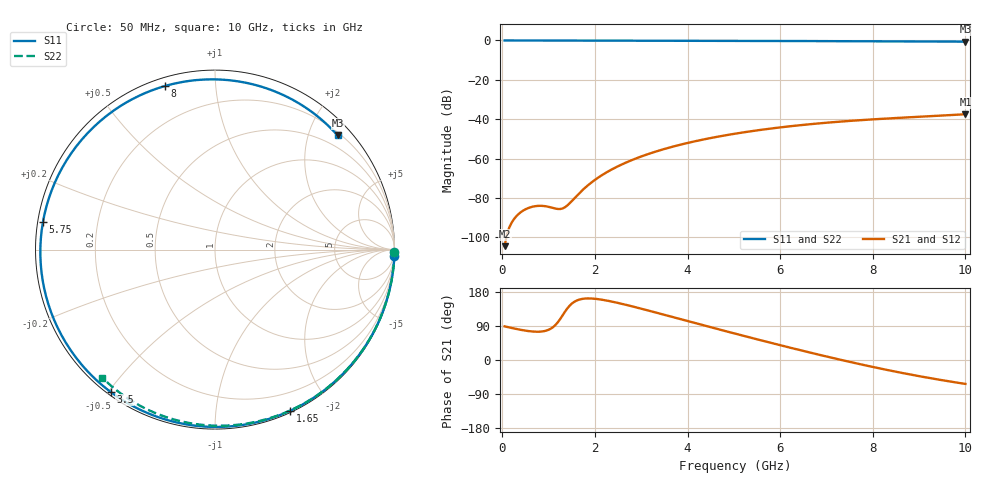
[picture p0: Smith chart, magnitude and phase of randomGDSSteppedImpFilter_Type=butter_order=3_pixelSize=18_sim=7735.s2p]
! freq	dB(S11)	phase(S11)	dB(S12)	phase(S12)
!  dB(S21)	phase(S21)	dB(S22)	phase(S22)
!S-par simulation data
#  GHz  S  DB  R 50
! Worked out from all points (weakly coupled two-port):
!   200 points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, 50 MHz to 10 GHz, reference 50 ohm
!   highest |S21| = -37.48 dB at 10 GHz (marker M1); lowest = -104.5 dB at 50 MHz (marker M2)
!   lowest |S11| = -0.6 dB at 10 GHz (marker M3), VSWR 29.00, Z = 12.8 + j126 ohm
!   |S11| at or under -10 dB: nowhere
!   |S22| runs from -0.4 to 0.0 dB; largest |S21 - S12| = 0
!   S11 on the Smith chart (normalised r, x): 50 MHz: 0, -55; 1.65 GHz: 0.02, -1.57; 3.5 GHz: 0.01, -0.51; 5.75 GHz: 0.01, +0.08; 8 GHz: 0.04, +0.74; 10 GHz: 0.26, +2.52
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0.05  -0.00 -2.1  -104.46 88.8  -104.46 88.8  -0.00 -0.8
0.4  -0.02 -16.4  -87.19 79.6  -87.19 79.6  -0.01 -6.0
0.75  -0.04 -30.5  -84.04 74.6  -84.04 74.6  -0.01 -11.3
1.15  -0.06 -46.2  -85.37 92.7  -85.37 92.7  -0.02 -17.3
1.55  -0.08 -61.4  -80.30 153.2  -80.30 153.2  -0.03 -23.2
1.65  -0.08 -65.1  -77.85 159.0  -77.85 159.0  -0.03 -24.7
1.75  -0.08 -68.7  -75.58 161.7  -75.58 161.7  -0.03 -26.2
2.05  -0.09 -79.5  -69.97 160.9  -69.97 160.9  -0.04 -30.6
2.45  -0.11 -93.2  -64.45 151.9  -64.45 151.9  -0.05 -36.4
2.9  -0.12 -107.8  -59.79 138.6  -59.79 138.6  -0.06 -42.8
3.4  -0.14 -123.3  -55.80 122.6  -55.80 122.6  -0.07 -49.8
3.5  -0.15 -126.3  -55.10 119.3  -55.10 119.3  -0.07 -51.2
4.3  -0.18 -149.4  -50.49 93.1  -50.49 93.1  -0.09 -62.2
5.05  -0.22 -170.1  -47.25 68.9  -47.25 68.9  -0.11 -72.1
5.75  -0.26 170.9  -44.88 46.8  -44.88 46.8  -0.14 -81.1
6.2  -0.29 158.6  -43.61 33.0  -43.61 33.0  -0.16 -86.8
6.7  -0.32 144.7  -42.40 18.0  -42.40 18.0  -0.18 -93.0
7.4  -0.37 124.8  -41.02 -2.1  -41.02 -2.1  -0.22 -101.4
8  -0.42 106.9  -40.07 -18.3  -40.07 -18.3  -0.26 -108.5
8.35  -0.45 96.2  -39.58 -27.2  -39.58 -27.2  -0.29 -112.5
9.15  -0.51 70.8  -38.57 -45.9  -38.57 -45.9  -0.36 -121.7
10  -0.60 42.9  -37.48 -63.1  -37.48 -63.1  -0.44 -131.3
